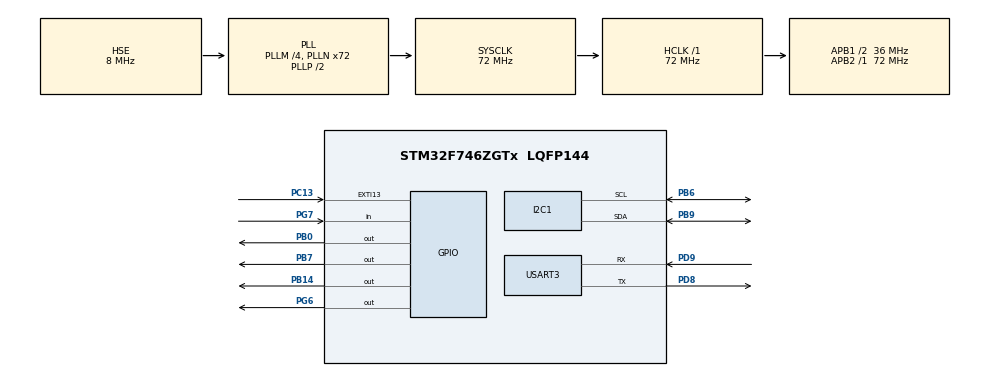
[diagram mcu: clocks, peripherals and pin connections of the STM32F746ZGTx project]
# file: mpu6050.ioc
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I2C1.Timing=0x00808CD2
Mcu.Family=STM32F7
Mcu.Name=STM32F746ZGTx
Mcu.Package=LQFP144
NVIC.PriorityGroup=NVIC_PRIORITYGROUP_4
PA1.GPIO_Mode=GPIO_MODE_AF_PP
PA1.GPIO_PuPd=GPIO_NOPULL
PA1.GPIO_Speed=GPIO_SPEED_FREQ_VERY_HIGH
PA1.Signal=ETH_REF_CLK
PA10.GPIO_Mode=GPIO_MODE_AF_PP
PA10.GPIO_PuPd=GPIO_NOPULL
PA10.GPIO_Speed=GPIO_SPEED_FREQ_VERY_HIGH
PA10.Signal=USB_OTG_FS_ID
PA11.GPIO_Mode=GPIO_MODE_AF_PP
PA11.GPIO_PuPd=GPIO_NOPULL
PA11.GPIO_Speed=GPIO_SPEED_FREQ_VERY_HIGH
PA11.Signal=USB_OTG_FS_DM
PA12.GPIO_Mode=GPIO_MODE_AF_PP
PA12.GPIO_PuPd=GPIO_NOPULL
PA12.GPIO_Speed=GPIO_SPEED_FREQ_VERY_HIGH
PA12.Signal=USB_OTG_FS_DP
PA13.Mode=Serial_Wire
PA13.Signal=SYS_JTMS-SWDIO
PA14.Mode=Serial_Wire
PA14.Signal=SYS_JTCK-SWCLK
PA2.GPIO_Mode=GPIO_MODE_AF_PP
PA2.GPIO_PuPd=GPIO_NOPULL
PA2.GPIO_Speed=GPIO_SPEED_FREQ_VERY_HIGH
PA2.Signal=ETH_MDIO
PA7.GPIO_Mode=GPIO_MODE_AF_PP
PA7.GPIO_PuPd=GPIO_NOPULL
PA7.GPIO_Speed=GPIO_SPEED_FREQ_VERY_HIGH
PA7.Signal=ETH_CRS_DV
PA8.GPIO_Mode=GPIO_MODE_AF_PP
PA8.GPIO_PuPd=GPIO_NOPULL
PA8.GPIO_Speed=GPIO_SPEED_FREQ_VERY_HIGH
PA8.Signal=USB_OTG_FS_SOF
PA9.GPIO_Mode=GPIO_MODE_INPUT
PA9.GPIO_PuPd=GPIO_NOPULL
PA9.Signal=USB_OTG_FS_VBUS
PB0.GPIO_ModeDefaultOutputPP=GPIO_MODE_OUTPUT_PP
PB0.GPIO_PuPd=GPIO_NOPULL
PB0.GPIO_Speed=GPIO_SPEED_FREQ_LOW
PB0.PinState=GPIO_PIN_RESET
PB0.Signal=GPIO_Output
PB13.GPIO_Mode=GPIO_MODE_AF_PP
PB13.GPIO_PuPd=GPIO_NOPULL
PB13.GPIO_Speed=GPIO_SPEED_FREQ_VERY_HIGH
PB13.Signal=ETH_TXD1
PB14.GPIO_ModeDefaultOutputPP=GPIO_MODE_OUTPUT_PP
PB14.GPIO_PuPd=GPIO_NOPULL
PB14.GPIO_Speed=GPIO_SPEED_FREQ_LOW
PB14.PinState=GPIO_PIN_RESET
PB14.Signal=GPIO_Output
PB3.Signal=SYS_JTDO-SWO
PB6.Mode=I2C
PB6.Signal=I2C1_SCL
PB7.GPIO_ModeDefaultOutputPP=GPIO_MODE_OUTPUT_PP
PB7.GPIO_PuPd=GPIO_NOPULL
PB7.GPIO_Speed=GPIO_SPEED_FREQ_LOW
PB7.PinState=GPIO_PIN_RESET
PB7.Signal=GPIO_Output
PB9.Mode=I2C
PB9.Signal=I2C1_SDA
PC1.GPIO_Mode=GPIO_MODE_AF_PP
PC1.GPIO_PuPd=GPIO_NOPULL
PC1.GPIO_Speed=GPIO_SPEED_FREQ_VERY_HIGH
PC1.Signal=ETH_MDC
PC13.GPIO_ModeDefaultEXTI=GPIO_MODE_IT_RISING
PC13.GPIO_PuPd=GPIO_NOPULL
PC13.Signal=GPXTI13
PC14/OSC32_IN.Mode=LSE-External-Oscillator
PC14/OSC32_IN.Signal=RCC_OSC32_IN
PC15/OSC32_OUT.Mode=LSE-External-Oscillator
PC15/OSC32_OUT.Signal=RCC_OSC32_OUT
PC4.GPIO_Mode=GPIO_MODE_AF_PP
PC4.GPIO_PuPd=GPIO_NOPULL
PC4.GPIO_Speed=GPIO_SPEED_FREQ_VERY_HIGH
PC4.Signal=ETH_RXD0
PC5.GPIO_Mode=GPIO_MODE_AF_PP
PC5.GPIO_PuPd=GPIO_NOPULL
PC5.GPIO_Speed=GPIO_SPEED_FREQ_VERY_HIGH
PC5.Signal=ETH_RXD1
PD8.GPIO_ModeDefaultPP=GPIO_MODE_AF_PP
PD8.GPIO_PuPd=GPIO_NOPULL
PD8.GPIO_Speed=GPIO_SPEED_FREQ_VERY_HIGH
PD8.Mode=Asynchronous
PD8.Signal=USART3_TX
PD9.GPIO_ModeDefaultPP=GPIO_MODE_AF_PP
PD9.GPIO_PuPd=GPIO_NOPULL
PD9.GPIO_Speed=GPIO_SPEED_FREQ_VERY_HIGH
PD9.Mode=Asynchronous
PD9.Signal=USART3_RX
PG11.GPIO_Mode=GPIO_MODE_AF_PP
PG11.GPIO_PuPd=GPIO_NOPULL
PG11.GPIO_Speed=GPIO_SPEED_FREQ_VERY_HIGH
PG11.Signal=ETH_TX_EN
PG13.GPIO_Mode=GPIO_MODE_AF_PP
PG13.GPIO_PuPd=GPIO_NOPULL
PG13.GPIO_Speed=GPIO_SPEED_FREQ_VERY_HIGH
PG13.Signal=ETH_TXD0
PG6.GPIO_ModeDefaultOutputPP=GPIO_MODE_OUTPUT_PP
PG6.GPIO_PuPd=GPIO_NOPULL
PG6.GPIO_Speed=GPIO_SPEED_FREQ_LOW
PG6.PinState=GPIO_PIN_RESET
PG6.Signal=GPIO_Output
PG7.GPIO_Mode=GPIO_MODE_INPUT
PG7.GPIO_PuPd=GPIO_NOPULL
PG7.Signal=GPIO_Input
PH0/OSC_IN.Mode=HSE-External-Clock-Source
PH0/OSC_IN.Signal=RCC_OSC_IN
PH1/OSC_OUT.Mode=HSE-External-Clock-Source
PH1/OSC_OUT.Signal=RCC_OSC_OUT
ProjectManager.HeapSize=0x200
ProjectManager.StackSize=0x400
ProjectManager.TargetToolchain=TrueSTUDIO
RCC.48MHZClocksFreq_Value=24000000
RCC.AHBFreq_Value=72000000
RCC.APB1CLKDivider=RCC_HCLK_DIV2
RCC.APB1Freq_Value=36000000
RCC.APB1TimFreq_Value=72000000
RCC.APB2Freq_Value=72000000
RCC.APB2TimFreq_Value=72000000
RCC.CortexFreq_Value=72000000
RCC.HCLKFreq_Value=72000000
RCC.HSE_VALUE=8000000
RCC.HSI_VALUE=16000000
RCC.PLLM=4
RCC.PLLMUL=RCC_PLL_MUL9
RCC.PLLN=72
RCC.PLLQ=3
RCC.PLLSourceVirtual=RCC_PLLSOURCE_HSE
RCC.PRESCALERUSB=RCC_USBCLKSOURCE_PLL_DIV1_5
RCC.SYSCLKFreq_VALUE=72000000
RCC.SYSCLKSource=RCC_SYSCLKSOURCE_PLLCLK
RCC.SYSCLKSourceVirtual=RCC_SYSCLKSOURCE_PLLCLK
RCC.USBFreq_Value=48000000
RCC.VCOOutputFreq_Value=144000000
USART3.VirtualMode-Asynchronous=VM_ASYNC
board=NUCLEO-F746ZG

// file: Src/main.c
/* USER CODE BEGIN Header */
/**
  ******************************************************************************
  * @file           : main.c
  * @brief          : Main program body
  ******************************************************************************
  * @attention
  *
  * <h2><center>&copy; Copyright (c) 2019 STMicroelectronics.
  * All rights reserved.</center></h2>
  *
  * This software component is licensed by ST under BSD 3-Clause license,
  * the "License"; You may not use this file except in compliance with the
  * License. You may obtain a copy of the License at:
  *                        opensource.org/licenses/BSD-3-Clause
  *
  ******************************************************************************
  */
/* USER CODE END Header */

#include "main.h"

/* USER CODE BEGIN Includes */

#include <stdio.h>
#include <string.h>

#include "MPU6050.h"
/* USER CODE END Includes */

I2C_HandleTypeDef hi2c1;

UART_HandleTypeDef huart3;

/* USER CODE BEGIN PV */

int16_t ax, ay, az;
int16_t gx, gy, gz;

char buff[50];
/* USER CODE END PV */

void SystemClock_Config(void);
static void MX_GPIO_Init(void);
static void MX_I2C1_Init(void);
static void MX_USART3_UART_Init(void);

int main(void)
{

  /* MCU Configuration--------------------------------------------------------*/

  /* Reset of all peripherals, Initializes the Flash interface and the Systick. */
  HAL_Init();

  /* Configure the system clock */
  SystemClock_Config();

  /* Initialize all configured peripherals */
  MX_GPIO_Init();
  MX_I2C1_Init();
  MX_USART3_UART_Init();
  /* USER CODE BEGIN 2 */
	I2Cdev_init(&hi2c1);
	MPU6050_setAddress(0x68);
	MPU6050_initialize();
	sprintf(buff, "true");

	if(MPU6050_testConnection()) {
		sprintf(buff, "true");
	}
	else {
		sprintf(buff, "false");
	}
	HAL_UART_Transmit(&huart3, (uint8_t*)buff, strlen(buff), 5000);
	sprintf(buff, "\n\r");
	HAL_UART_Transmit(&huart3, (uint8_t*)buff, strlen(buff), 5000);

  /* USER CODE END 2 */

  /* Infinite loop */
  while (1)
  {

    /* USER CODE BEGIN 3 */
	MPU6050_getMotion6(&ax, &ay, &az, &gx, &gy, &gz);
	sprintf(buff, "%d, %d, %d, %d, %d, %d\n\r", ax, ay, az, gx, gy, gz);
	HAL_UART_Transmit(&huart3, (uint8_t*)buff, strlen(buff), 5000);
	HAL_Delay(200);
  }
  /* USER CODE END 3 */
}

void SystemClock_Config(void)
{
  RCC_OscInitTypeDef RCC_OscInitStruct = {0};
  RCC_ClkInitTypeDef RCC_ClkInitStruct = {0};
  RCC_PeriphCLKInitTypeDef PeriphClkInitStruct = {0};

  /** Configure LSE Drive Capability
  */
  HAL_PWR_EnableBkUpAccess();
  /** Configure the main internal regulator output voltage
  */
  __HAL_RCC_PWR_CLK_ENABLE();
  __HAL_PWR_VOLTAGESCALING_CONFIG(PWR_REGULATOR_VOLTAGE_SCALE3);
  /** Initializes the CPU, AHB and APB busses clocks
  */
  RCC_OscInitStruct.OscillatorType = RCC_OSCILLATORTYPE_HSE;
  RCC_OscInitStruct.HSEState = RCC_HSE_BYPASS;
  RCC_OscInitStruct.PLL.PLLState = RCC_PLL_ON;
  RCC_OscInitStruct.PLL.PLLSource = RCC_PLLSOURCE_HSE;
  RCC_OscInitStruct.PLL.PLLM = 4;
  RCC_OscInitStruct.PLL.PLLN = 72;
  RCC_OscInitStruct.PLL.PLLP = RCC_PLLP_DIV2;
  RCC_OscInitStruct.PLL.PLLQ = 3;
  if (HAL_RCC_OscConfig(&RCC_OscInitStruct) != HAL_OK)
  {
    Error_Handler();
  }
  /** Initializes the CPU, AHB and APB busses clocks
  */
  RCC_ClkInitStruct.ClockType = RCC_CLOCKTYPE_HCLK|RCC_CLOCKTYPE_SYSCLK
                              |RCC_CLOCKTYPE_PCLK1|RCC_CLOCKTYPE_PCLK2;
  RCC_ClkInitStruct.SYSCLKSource = RCC_SYSCLKSOURCE_PLLCLK;
  RCC_ClkInitStruct.AHBCLKDivider = RCC_SYSCLK_DIV1;
  RCC_ClkInitStruct.APB1CLKDivider = RCC_HCLK_DIV2;
  RCC_ClkInitStruct.APB2CLKDivider = RCC_HCLK_DIV1;

  if (HAL_RCC_ClockConfig(&RCC_ClkInitStruct, FLASH_LATENCY_2) != HAL_OK)
  {
    Error_Handler();
  }
  PeriphClkInitStruct.PeriphClockSelection = RCC_PERIPHCLK_USART3|RCC_PERIPHCLK_I2C1;
  PeriphClkInitStruct.Usart3ClockSelection = RCC_USART3CLKSOURCE_PCLK1;
  PeriphClkInitStruct.I2c1ClockSelection = RCC_I2C1CLKSOURCE_PCLK1;
  if (HAL_RCCEx_PeriphCLKConfig(&PeriphClkInitStruct) != HAL_OK)
  {
    Error_Handler();
  }
}

static void MX_I2C1_Init(void)
{

  hi2c1.Instance = I2C1;
  hi2c1.Init.Timing = 0x00808CD2;
  hi2c1.Init.OwnAddress1 = 0;
  hi2c1.Init.AddressingMode = I2C_ADDRESSINGMODE_7BIT;
  hi2c1.Init.DualAddressMode = I2C_DUALADDRESS_DISABLE;
  hi2c1.Init.OwnAddress2 = 0;
  hi2c1.Init.OwnAddress2Masks = I2C_OA2_NOMASK;
  hi2c1.Init.GeneralCallMode = I2C_GENERALCALL_DISABLE;
  hi2c1.Init.NoStretchMode = I2C_NOSTRETCH_DISABLE;
  if (HAL_I2C_Init(&hi2c1) != HAL_OK)
  {
    Error_Handler();
  }
  /** Configure Analogue filter
  */
  if (HAL_I2CEx_ConfigAnalogFilter(&hi2c1, I2C_ANALOGFILTER_ENABLE) != HAL_OK)
  {
    Error_Handler();
  }
  /** Configure Digital filter
  */
  if (HAL_I2CEx_ConfigDigitalFilter(&hi2c1, 0) != HAL_OK)
  {
    Error_Handler();
  }

}

static void MX_USART3_UART_Init(void)
{

  huart3.Instance = USART3;
  huart3.Init.BaudRate = 115200;
  huart3.Init.WordLength = UART_WORDLENGTH_8B;
  huart3.Init.StopBits = UART_STOPBITS_1;
  huart3.Init.Parity = UART_PARITY_NONE;
  huart3.Init.Mode = UART_MODE_TX_RX;
  huart3.Init.HwFlowCtl = UART_HWCONTROL_NONE;
  huart3.Init.OverSampling = UART_OVERSAMPLING_16;
  huart3.Init.OneBitSampling = UART_ONE_BIT_SAMPLE_DISABLE;
  huart3.AdvancedInit.AdvFeatureInit = UART_ADVFEATURE_NO_INIT;
  if (HAL_UART_Init(&huart3) != HAL_OK)
  {
    Error_Handler();
  }

}

static void MX_GPIO_Init(void)
{
  GPIO_InitTypeDef GPIO_InitStruct = {0};

  /* GPIO Ports Clock Enable */
  __HAL_RCC_GPIOC_CLK_ENABLE();
  __HAL_RCC_GPIOH_CLK_ENABLE();
  __HAL_RCC_GPIOA_CLK_ENABLE();
  __HAL_RCC_GPIOB_CLK_ENABLE();
  __HAL_RCC_GPIOD_CLK_ENABLE();
  __HAL_RCC_GPIOG_CLK_ENABLE();

  /*Configure GPIO pin Output Level */
  HAL_GPIO_WritePin(GPIOB, GPIO_PIN_0|GPIO_PIN_14|GPIO_PIN_7, GPIO_PIN_RESET);

  /*Configure GPIO pin Output Level */
  HAL_GPIO_WritePin(GPIOG, GPIO_PIN_6, GPIO_PIN_RESET);

  /*Configure GPIO pin : PC13 */
  GPIO_InitStruct.Pin = GPIO_PIN_13;
  GPIO_InitStruct.Mode = GPIO_MODE_IT_RISING;
  GPIO_InitStruct.Pull = GPIO_NOPULL;
  HAL_GPIO_Init(GPIOC, &GPIO_InitStruct);

  /*Configure GPIO pins : PC1 PC4 PC5 */
  GPIO_InitStruct.Pin = GPIO_PIN_1|GPIO_PIN_4|GPIO_PIN_5;
  GPIO_InitStruct.Mode = GPIO_MODE_AF_PP;
  GPIO_InitStruct.Pull = GPIO_NOPULL;
  GPIO_InitStruct.Speed = GPIO_SPEED_FREQ_VERY_HIGH;
  GPIO_InitStruct.Alternate = GPIO_AF11_ETH;
  HAL_GPIO_Init(GPIOC, &GPIO_InitStruct);

  /*Configure GPIO pins : PA1 PA2 PA7 */
  GPIO_InitStruct.Pin = GPIO_PIN_1|GPIO_PIN_2|GPIO_PIN_7;
  GPIO_InitStruct.Mode = GPIO_MODE_AF_PP;
  GPIO_InitStruct.Pull = GPIO_NOPULL;
  GPIO_InitStruct.Speed = GPIO_SPEED_FREQ_VERY_HIGH;
  GPIO_InitStruct.Alternate = GPIO_AF11_ETH;
  HAL_GPIO_Init(GPIOA, &GPIO_InitStruct);

  /*Configure GPIO pins : PB0 PB14 PB7 */
  GPIO_InitStruct.Pin = GPIO_PIN_0|GPIO_PIN_14|GPIO_PIN_7;
  GPIO_InitStruct.Mode = GPIO_MODE_OUTPUT_PP;
  GPIO_InitStruct.Pull = GPIO_NOPULL;
  GPIO_InitStruct.Speed = GPIO_SPEED_FREQ_LOW;
  HAL_GPIO_Init(GPIOB, &GPIO_InitStruct);

  /*Configure GPIO pin : PB13 */
  GPIO_InitStruct.Pin = GPIO_PIN_13;
  GPIO_InitStruct.Mode = GPIO_MODE_AF_PP;
  GPIO_InitStruct.Pull = GPIO_NOPULL;
  GPIO_InitStruct.Speed = GPIO_SPEED_FREQ_VERY_HIGH;
  GPIO_InitStruct.Alternate = GPIO_AF11_ETH;
  HAL_GPIO_Init(GPIOB, &GPIO_InitStruct);

  /*Configure GPIO pin : PG6 */
  GPIO_InitStruct.Pin = GPIO_PIN_6;
  GPIO_InitStruct.Mode = GPIO_MODE_OUTPUT_PP;
  GPIO_InitStruct.Pull = GPIO_NOPULL;
  GPIO_InitStruct.Speed = GPIO_SPEED_FREQ_LOW;
  HAL_GPIO_Init(GPIOG, &GPIO_InitStruct);

  /*Configure GPIO pin : PG7 */
  GPIO_InitStruct.Pin = GPIO_PIN_7;
  GPIO_InitStruct.Mode = GPIO_MODE_INPUT;
  GPIO_InitStruct.Pull = GPIO_NOPULL;
  HAL_GPIO_Init(GPIOG, &GPIO_InitStruct);

  /*Configure GPIO pins : PA8 PA10 PA11 PA12 */
  GPIO_InitStruct.Pin = GPIO_PIN_8|GPIO_PIN_10|GPIO_PIN_11|GPIO_PIN_12;
  GPIO_InitStruct.Mode = GPIO_MODE_AF_PP;
  GPIO_InitStruct.Pull = GPIO_NOPULL;
  GPIO_InitStruct.Speed = GPIO_SPEED_FREQ_VERY_HIGH;
  GPIO_InitStruct.Alternate = GPIO_AF10_OTG_FS;
  HAL_GPIO_Init(GPIOA, &GPIO_InitStruct);

  /*Configure GPIO pin : PA9 */
  GPIO_InitStruct.Pin = GPIO_PIN_9;
  GPIO_InitStruct.Mode = GPIO_MODE_INPUT;
  GPIO_InitStruct.Pull = GPIO_NOPULL;
  HAL_GPIO_Init(GPIOA, &GPIO_InitStruct);

  /*Configure GPIO pins : PG11 PG13 */
  GPIO_InitStruct.Pin = GPIO_PIN_11|GPIO_PIN_13;
  GPIO_InitStruct.Mode = GPIO_MODE_AF_PP;
  GPIO_InitStruct.Pull = GPIO_NOPULL;
  GPIO_InitStruct.Speed = GPIO_SPEED_FREQ_VERY_HIGH;
  GPIO_InitStruct.Alternate = GPIO_AF11_ETH;
  HAL_GPIO_Init(GPIOG, &GPIO_InitStruct);

}

void Error_Handler(void)
{
}

/************************ (C) COPYRIGHT STMicroelectronics *****END OF FILE****/
